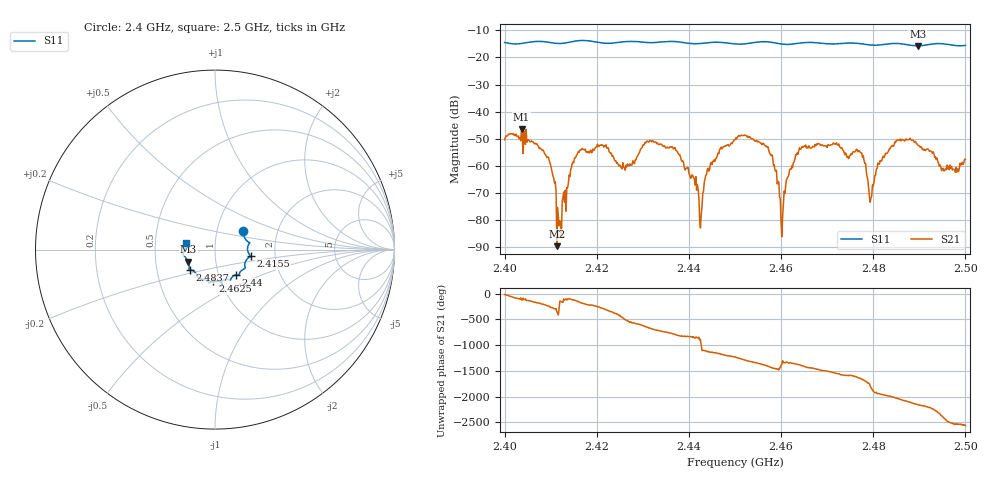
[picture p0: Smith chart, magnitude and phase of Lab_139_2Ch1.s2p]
# Hz S RI R 50
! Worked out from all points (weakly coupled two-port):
!   601 points, 2.4 GHz to 2.5 GHz, reference 50 ohm
!   highest |S21| = -46.45 dB at 2.4037 GHz (marker M1); lowest = -89.6 dB at 2.4113 GHz (marker M2)
!   lowest |S11| = -15.7 dB at 2.4897 GHz (marker M3), VSWR 1.39, Z = 36.7 - j5.01 ohm
!   |S11| at or under -10 dB: start of sweep to end of sweep
!   S12 and S22 are empty: the file has one direction only
!   S11 on the Smith chart (normalised r, x): 2.4 GHz: 1.33, +0.29; 2.4155 GHz: 1.49, -0.11; 2.44 GHz: 1.21, -0.35; 2.4625 GHz: 0.92, -0.34; 2.4837 GHz: 0.74, -0.17; 2.5 GHz: 0.72, +0.05
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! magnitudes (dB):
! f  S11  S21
! 2.4 GHz  -14.5  -50.4
! 2.4037 GHz  -14.8  -46.5
! 2.4093 GHz  -14.3  -56.8
! 2.4113 GHz  -14.8  -89.6
! 2.4155 GHz  -13.9  -56.6
! 2.4167 GHz  -13.7  -53.9
! 2.4257 GHz  -14.2  -58.8
! 2.4333 GHz  -14.4  -52.0
! 2.44 GHz  -14.8  -62.7
! 2.4427 GHz  -14.8  -77.9
! 2.4443 GHz  -14.5  -62.0
! 2.45 GHz  -15.0  -50.4
! 2.4568 GHz  -14.2  -52.7
! 2.4602 GHz  -15.1  -86.1
! 2.4625 GHz  -15.1  -60.7
! 2.4667 GHz  -14.5  -53.3
! 2.477 GHz  -14.9  -54.5
! 2.4795 GHz  -15.4  -71.8
! 2.4833 GHz  -15.0  -54.5
! 2.4837 GHz  -14.9  -53.6
! 2.4897 GHz  -15.7  -52.3
! 2.5 GHz  -15.5  -57.5
